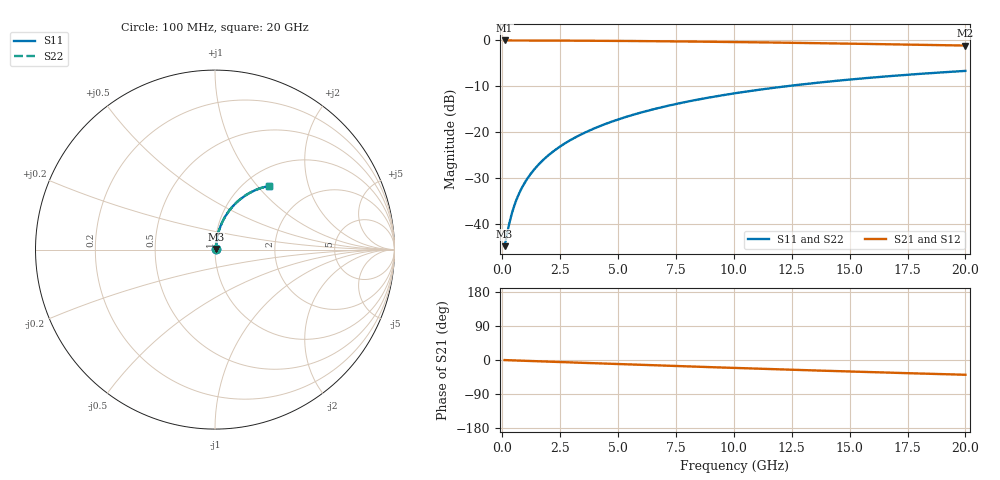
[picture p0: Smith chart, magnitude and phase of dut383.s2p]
! Touchstone file exported from HFSS 2026.1.0
!  File:  C:/ffzhzh/LocalFiles/Ansys_Project_Files/temp_train_BSMRDL_383_1783012022_55676.aedt
!  Generated:  01:08:29 AM Jul  3, 2026
!  Design:  BSMRDL
!  Project:  temp_train_BSMRDL_383_1783012022_55676
! Variables:
!  h_bsmrdl = 2.15um
!  h_ox = 20um
!  h_rdl = 5um
!  h_sub = 80um
!  h_tmrdl = 5um
!  h_tsv = 80um
!  h_via = 3um
!  l_bsmrdl = 458.5um
!  l_sub = 858.5um
!  l_tmrdl = 200um
!  m_sub = 200um
!  pitch = 59.84um
!  r_tsv = 6um
!  s_tmrdl = 10um
!  w_bsmrdl = 15.95um
!  w_sub = 500um
!  w_tmrdl = 12um
!  x_tsv_center1 = 206um
!  x_tsv_center2 = 680.45um
!  x_tsv_center3 = 892.45um
!  x_tsv_center4 = 1366.9um
!  x_tsv_center5 = 1578.9um
!  x_tsv_center6 = 2053.35um
# GHz S MA R 50.000000
! Terminal data exported
! Port[1] = BSM_RDL1_1_T1
! Port[2] = BSM_RDL1_1_T2
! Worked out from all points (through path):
!   200 points, 100 MHz to 20 GHz, reference 50 ohm
!   highest |S21| = -0.04 dB at 100 MHz (marker M1); lowest = -1.2 dB at 20 GHz (marker M2)
!   group delay of S21, straight-line fit = 5.43 ps
!   lowest |S11| = -44.8 dB at 100 MHz (marker M3), VSWR 1.01, Z = 50.5 + j0.294 ohm
!   |S11| at or under -10 dB: start of sweep to 12.28 GHz
!   |S22| runs from -44.8 to -6.7 dB; largest |S21 - S12| = 4.4e-15
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0.1  0.005754 30.4  0.995 -0.2  0.995 -0.2  0.005754 30.4
! Gamma 0 0 0 0
! Port Impedance 50 0 50 0
0.3  0.01011 59.2  0.9949 -0.7  0.9949 -0.7  0.01011 59.2
0.4  0.01272 65.2  0.9948 -0.9  0.9948 -0.9  0.01272 65.2
0.5  0.0154 68.9  0.9946 -1.1  0.9946 -1.1  0.0154 68.9
0.6  0.01811 71.5  0.9945 -1.3  0.9945 -1.3  0.01811 71.5
0.8  0.02356 74.6  0.9942 -1.8  0.9942 -1.8  0.02356 74.6
1.1  0.03173 77.1  0.9938 -2.4  0.9938 -2.4  0.03173 77.2
1.5  0.04264 78.7  0.9932 -3.3  0.9932 -3.3  0.04264 78.7
1.8  0.05083 79.3  0.9927 -3.9  0.9927 -3.9  0.05083 79.3
2.1  0.05902 79.5  0.9922 -4.5  0.9922 -4.5  0.05902 79.5
2.7  0.07539 79.4  0.9909 -5.8  0.9909 -5.8  0.07539 79.4
3.5  0.09715 78.7  0.9889 -7.5  0.9889 -7.5  0.09714 78.7
4.2  0.1161 77.8  0.9867 -9.0  0.9867 -9.0  0.1161 77.8
5  0.1375 76.5  0.9839 -10.7  0.9839 -10.7  0.1375 76.6
5.9  0.1612 75.0  0.9801 -12.5  0.9801 -12.5  0.1612 75.0
6.8  0.1846 73.4  0.9758 -14.4  0.9758 -14.4  0.1846 73.4
8.3  0.2226 70.6  0.9675 -17.5  0.9675 -17.5  0.2226 70.6
10.1  0.2663 67.2  0.956 -21.1  0.956 -21.1  0.2663 67.3
11.7  0.3033 64.2  0.9446 -24.2  0.9446 -24.2  0.3033 64.3
13.4  0.3406 61.1  0.9315 -27.4  0.9315 -27.4  0.3406 61.2
16.7  0.4066 55.3  0.9042 -33.4  0.9042 -33.4  0.4066 55.3
20  0.4642 49.8  0.8757 -39.0  0.8757 -39.0  0.4642 49.8
